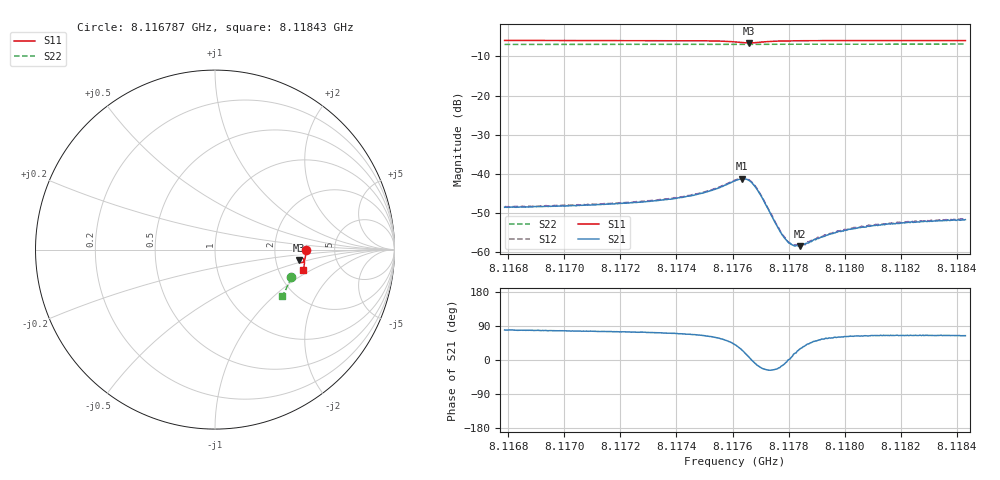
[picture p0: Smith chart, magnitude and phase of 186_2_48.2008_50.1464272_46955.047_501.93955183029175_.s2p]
#  HZ  S  RI  R  50.00
! Rohde & Schwarz Vector Network Analyzer
! Rohde-Schwarz,ZNB20-2Port,1311601062101988,3.16
! Created: UTC 3/20/2024, 11:44:20 AM
! freq[Hz]  re:S11  im:S11  re:S21  im:S21  re:S12  im:S12  re:S22  im:S22
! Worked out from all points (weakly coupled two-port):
!   401 points, 8.116787 GHz to 8.11843 GHz, reference 50 ohm
!   highest |S21| = -41.26 dB at 8.117633 GHz (marker M1); lowest = -58.5 dB at 8.117839 GHz (marker M2)
!   lowest |S11| = -6.5 dB at 8.117658 GHz (marker M3), VSWR 2.78, Z = 136 - j20.5 ohm
!   |S11| at or under -10 dB: nowhere
!   |S22| runs from -6.9 to -6.8 dB; largest |S21 - S12| = 0.00022
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8.1167873e9  0.5065 -0.000718  0.000692 0.00366  0.000748 0.0037  0.4228 -0.1554
8.1170625e9  0.5055 -0.0223  0.000969 0.00383  0.001 0.00388  0.4166 -0.1734
8.1173377e9  0.5027 -0.0452  0.00142 0.00434  0.00147 0.00443  0.4095 -0.1913
8.117428e9  0.5007 -0.0538  0.00183 0.00472  0.00195 0.00477  0.4069 -0.1972
8.1174937e9  0.4978 -0.0611  0.00242 0.0051  0.00249 0.0052  0.4049 -0.2014
8.1175471e9  0.4932 -0.0676  0.0034 0.00555  0.00359 0.00566  0.4032 -0.2049
8.1176087e9  0.4801 -0.0729  0.00619 0.00526  0.00637 0.0053  0.4007 -0.2085
8.1176334e9  0.4718 -0.0691  0.00774 0.00386  0.00792 0.00384  0.3998 -0.21
8.117658e9  0.4674 -0.0588  0.00816 0.00113  0.00834 0.00105  0.399 -0.2109
8.1176744e9  0.4703 -0.0514  0.00726 -0.000601  0.00739 -0.0007  0.3988 -0.2114
8.117695e9  0.4777 -0.0465  0.00544 -0.00172  0.00554 -0.00179  0.3984 -0.2126
8.1177607e9  0.494 -0.0531  0.00192 -0.000809  0.00194 -0.000825  0.3973 -0.2169
8.1177853e9  0.4961 -0.057  0.00148 -0.00027  0.00152 -0.00028  0.3967 -0.2187
8.1177977e9  0.4969 -0.0588  0.00134 1.97e-06  0.00135 -5.71e-05  0.3963 -0.2195
8.11781e9  0.4974 -0.0607  0.00123 0.000163  0.00125 0.00017  0.396 -0.2204
8.1178387e9  0.498 -0.0645  0.00104 0.000565  0.0011 0.000559  0.395 -0.2223
8.117851e9  0.4983 -0.066  0.00103 0.000719  0.00103 0.00068  0.3946 -0.2229
8.1178839e9  0.4986 -0.0697  0.000944 0.00102  0.000963 0.00102  0.3935 -0.225
8.1179455e9  0.4984 -0.076  0.000887 0.00144  0.00092 0.00145  0.3914 -0.2289
8.1179948e9  0.498 -0.0806  0.000899 0.00161  0.00093 0.00168  0.3899 -0.232
8.1181591e9  0.4959 -0.0945  0.000989 0.00206  0.00101 0.00211  0.3844 -0.2423
8.1184301e9  0.4915 -0.1155  0.00113 0.00233  0.00119 0.00236  0.3745 -0.2586
